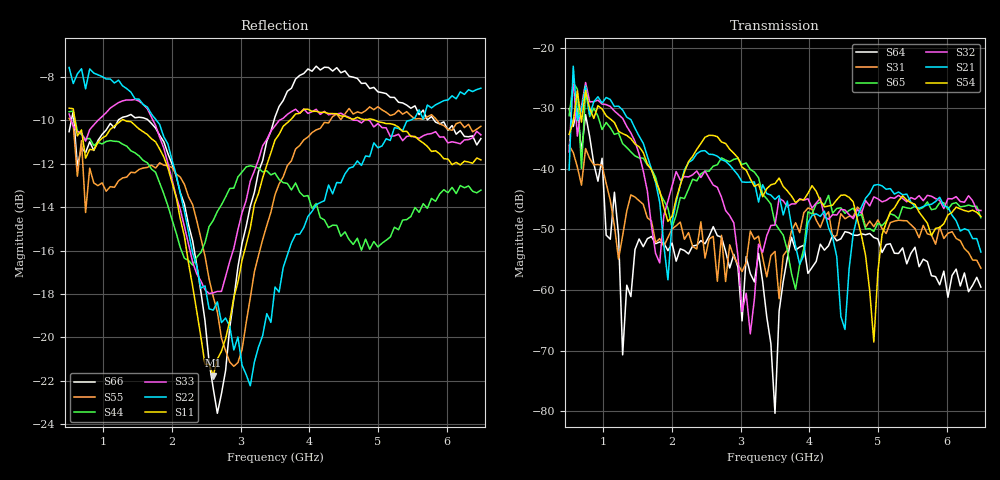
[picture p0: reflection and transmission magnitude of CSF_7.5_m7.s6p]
!Keysight Technologies,M9804A,MY58100912,A.14.10.03
!Date: Thursday, April 27, 2023 10:28:33
!Correction: S11(C  6-Port  )
!S12(C  6-Port  )
!S13(C  6-Port  )
!S14(C  6-Port  )
!S15(C  6-Port  )
!S16(C  6-Port  )
!S21(C  6-Port  )
!S22(C  6-Port  )
!S23(C  6-Port  )
!S24(C  6-Port  )
!S25(C  6-Port  )
!S26(C  6-Port  )
!S31(C  6-Port  )
!S32(C  6-Port  )
!S33(C  6-Port  )
!S34(C  6-Port  )
!S35(C  6-Port  )
!S36(C  6-Port  )
!S41(C  6-Port  )
!S42(C  6-Port  )
!S43(C  6-Port  )
!S44(C  6-Port  )
!S45(C  6-Port  )
!S46(C  6-Port  )
!S51(C  6-Port  )
!S52(C  6-Port  )
!S53(C  6-Port  )
!S54(C  6-Port  )
!S55(C  6-Port  )
!S56(C  6-Port  )
!S61(C  6-Port  )
!S62(C  6-Port  )
!S63(C  6-Port  )
!S64(C  6-Port  )
!S65(C  6-Port  )
!S66(C  6-Port  )
!S6P File: Measurement: :
# Hz S  RI  R 50
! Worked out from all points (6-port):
!   101 points, 500 MHz to 6.5 GHz, reference 50 ohm
!   strongest paths, dB at 500 MHz, 2 GHz, 3.5 GHz, 5 GHz, 6.5 GHz:
!     S54: -34.3, -47.9, -42.4, -56.9, -47.8
!     S21: -40.2, -48.8, -45.0, -42.6, -53.7
!     S32: -37.2, -42.8, -49.3, -44.9, -46.9
!     S65: -31.2, -49.7, -49.0, -48.9, -48.1
!     S31: -36.1, -49.9, -53.6, -48.4, -56.4
!     S64: -30.1, -52.3, -80.4, -51.6, -59.5
!   lowest |S11| = -21.8 dB at 2.6 GHz (marker M1), VSWR 1.18, Z = 42.7 + j1.95 ohm
!   |S11| at or under -10 dB: 585.5 MHz to 1.264 GHz (679 MHz wide, 73.4 % of centre); 1.307 GHz to 3.718 GHz (2.411 GHz wide, 96 % of centre); 4.959 GHz to end of sweep
